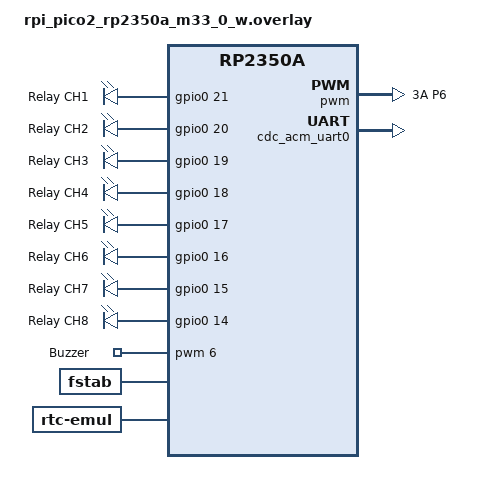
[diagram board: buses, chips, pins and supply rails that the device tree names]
/*
 * SPDX-License-Identifier: Apache-2.0
 *
 * Overlay para Industrial 8-Channel Relay Module for Raspberry Pi Pico W
 *
 * GPIO Map:
 *   GP6  - Buzzer (passive, PWM slice 3 ch A)
 *   GP13 - WS2812 RGB LED (PIO1)
 *   GP14 - Relay CH8    GP18 - Relay CH4
 *   GP15 - Relay CH7    GP19 - Relay CH3
 *   GP16 - Relay CH6    GP20 - Relay CH2
 *   GP17 - Relay CH5    GP21 - Relay CH1
 */

#include <dt-bindings/pinctrl/rpi-pico-rp2350a-pinctrl.h>
#include <dt-bindings/pwm/pwm.h>
#include <dt-bindings/led/led.h>

/ {
	chosen {
		zephyr,console = &cdc_acm_uart0;
		zephyr,shell-uart = &cdc_acm_uart0;
	};

	/* 8-Channel Relay outputs (Active HIGH) */
	relays {
		compatible = "gpio-leds";
		relay1: relay_1 { gpios = <&gpio0 21 GPIO_ACTIVE_HIGH>; label = "Relay CH1"; };
		relay2: relay_2 { gpios = <&gpio0 20 GPIO_ACTIVE_HIGH>; label = "Relay CH2"; };
		relay3: relay_3 { gpios = <&gpio0 19 GPIO_ACTIVE_HIGH>; label = "Relay CH3"; };
		relay4: relay_4 { gpios = <&gpio0 18 GPIO_ACTIVE_HIGH>; label = "Relay CH4"; };
		relay5: relay_5 { gpios = <&gpio0 17 GPIO_ACTIVE_HIGH>; label = "Relay CH5"; };
		relay6: relay_6 { gpios = <&gpio0 16 GPIO_ACTIVE_HIGH>; label = "Relay CH6"; };
		relay7: relay_7 { gpios = <&gpio0 15 GPIO_ACTIVE_HIGH>; label = "Relay CH7"; };
		relay8: relay_8 { gpios = <&gpio0 14 GPIO_ACTIVE_HIGH>; label = "Relay CH8"; };
	};

	/* Passive buzzer via PWM (GP6 = PWM slice 3, channel A = index 6) */
	pwmleds {
		compatible = "pwm-leds";
		buzzer0: buzzer0 {
			pwms = <&pwm 6 PWM_HZ(1000) PWM_POLARITY_NORMAL>;
			label = "Buzzer";
		};
	};

	aliases {
		relay1 = &relay1;
		relay2 = &relay2;
		relay3 = &relay3;
		relay4 = &relay4;
		relay5 = &relay5;
		relay6 = &relay6;
		relay7 = &relay7;
		relay8 = &relay8;
		pwm-buzzer0 = &buzzer0;
		led-strip = &ws2812;
	};

	fstab {
		compatible = "zephyr,fstab";
		lfs1: lfs1 {
			compatible = "zephyr,fstab,littlefs";
			read-size = <16>;
			prog-size = <256>;
			cache-size = <256>;
			lookahead-size = <128>;
			block-cycles = <512>;
			partition = <&storage_partition>;
			mount-point = "/lfs1";
		};
	};
};

/* Pinctrl for PWM buzzer (GP6) and WS2812 PIO (GP13) */
&pinctrl {
	pwm_ch3a_default: pwm_ch3a_default {
		group1 {
			pinmux = <PWM_3A_P6>;
		};
	};

	pio1_ws2812_default: pio1_ws2812_default {
		ws2812 {
			pinmux = <PIO1_P13>;
		};
	};
};

/* PWM for buzzer on GP6 */
&pwm {
	status = "okay";
	pinctrl-0 = <&pwm_ch3a_default>;
	pinctrl-names = "default";
};

/* WS2812 RGB LED on GP13 via PIO1 (PIO0 is used by WiFi CYW43) */
&pio1 {
	status = "okay";

	pio1_ws2812: pio1_ws2812 {
		compatible = "worldsemi,ws2812-rpi_pico-pio";
		status = "okay";
		pinctrl-0 = <&pio1_ws2812_default>;
		pinctrl-names = "default";
		bit-waveform = <3>, <3>, <4>;

		ws2812: ws2812 {
			gpios = <&gpio0 13 GPIO_ACTIVE_HIGH>;
			chain-length = <1>;
			color-mapping = <LED_COLOR_ID_GREEN
					 LED_COLOR_ID_RED
					 LED_COLOR_ID_BLUE>;
			reset-delay = <280>;
			frequency = <800000>;
		};
	};
};

/* Software RTC: SNTP must restore time after reset. */
/ { rtc: rtc { compatible = "zephyr,rtc-emul"; status = "okay"; }; };
/* 4 MiB flash: mapped code at zero, LittleFS in final 64 KiB. */
&code_partition { reg = <0x0 0x3f0000>; };
&flash0 {
    partitions {
        compatible = "fixed-partitions";
        storage_partition: partition@3f0000 {
            label = "storage";
            reg = <0x3f0000 0x10000>;
        };
    };
};
/* USB CDC ACM UART para console e shell */
&zephyr_udc0 {
	cdc_acm_uart0: cdc_acm_uart0 {
		compatible = "zephyr,cdc-acm-uart";
	};
};
